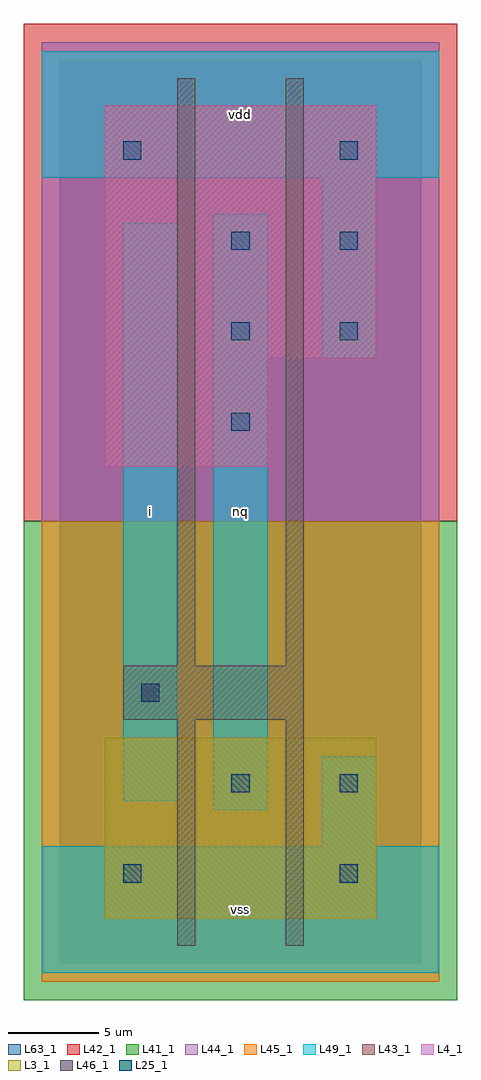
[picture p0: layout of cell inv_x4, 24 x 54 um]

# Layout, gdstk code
import gdstk
lib = gdstk.Library(unit=1e-6, precision=1e-09)
def R(c, l, rs):  # rectangles x0, y0, x1, y1
    for r in rs: c.add(gdstk.rectangle(r[:2], r[2:], *l))
def A(c, l, x, y, w, h, nx, ny, dx, dy):  # array of equal rectangles
    R(c, l, [(x+i*dx, y+j*dy, x+i*dx+w, y+j*dy+h) for i in range(nx) for j in range(ny)])
L3_1 = (3, 1)
L4_1 = (4, 1)
L25_1 = (25, 1)
L41_1 = (41, 1)
L42_1 = (42, 1)
L43_1 = (43, 1)
L44_1 = (44, 1)
L45_1 = (45, 1)
L46_1 = (46, 1)
L49_1 = (49, 1)
L63_1 = (63, 1)

inv_x4 = lib.new_cell('inv_x4')
R(inv_x4, L3_1, [(2.5,2.5,17.5,12.5)])
R(inv_x4, L4_1, [(2.5,27.5,11.5,33.5), (2.5,33.5,17.5,47.5)])
A(inv_x4, L25_1, 9.5, 29.5, 1, 1, 1, 3, 0, 5)
A(inv_x4, L25_1, 15.5, 34.5, 1, 1, 1, 3, 0, 5)
R(inv_x4, L25_1, [(3.5,4.5,4.5,5.5), (15.5,4.5,16.5,5.5), (9.5,9.5,10.5,10.5), (15.5,9.5,16.5,10.5), (4.5,14.5,5.5,15.5), (3.5,44.5,4.5,45.5)])
R(inv_x4, L41_1, [(-2,-2,22,24.5)])
R(inv_x4, L42_1, [(-2,24.5,22,52)])
R(inv_x4, L43_1, [(2.5,2.5,17.5,12.5), (2.5,27.5,11.5,33.5), (2.5,33.5,17.5,47.5)])
R(inv_x4, L44_1, [(-1,24.5,21,51)])
R(inv_x4, L45_1, [(-1,-1,21,24.5)])
R(inv_x4, L46_1, [(6.5,1,7.5,13.5), (12.5,1,13.5,13.5), (3.5,13.5,13.5,16.5), (6.5,16.5,7.5,49), (12.5,16.5,13.5,49)])
R(inv_x4, L49_1, [(-1,-0.5,21,6.5), (14.5,6.5,17.5,11.5), (8.5,8.5,11.5,41.5), (3.5,9,6.5,41), (14.5,33.5,17.5,43.5), (-1,43.5,21,50.5)])
R(inv_x4, L63_1, [(0,0,20,50)])
inv_x4.add(gdstk.Label('i', (5,25), layer=49, texttype=1))
inv_x4.add(gdstk.Label('i', (5,25), layer=49, texttype=1))
inv_x4.add(gdstk.Label('vss', (10,3), layer=49, texttype=1))
inv_x4.add(gdstk.Label('vss', (10,3), layer=49, texttype=1))
inv_x4.add(gdstk.Label('nq', (10,25), layer=49, texttype=1))
inv_x4.add(gdstk.Label('nq', (10,25), layer=49, texttype=1))
inv_x4.add(gdstk.Label('vdd', (10,47), layer=49, texttype=1))
inv_x4.add(gdstk.Label('vdd', (10,47), layer=49, texttype=1))

lib.write_gds('inv_x4.gds')
